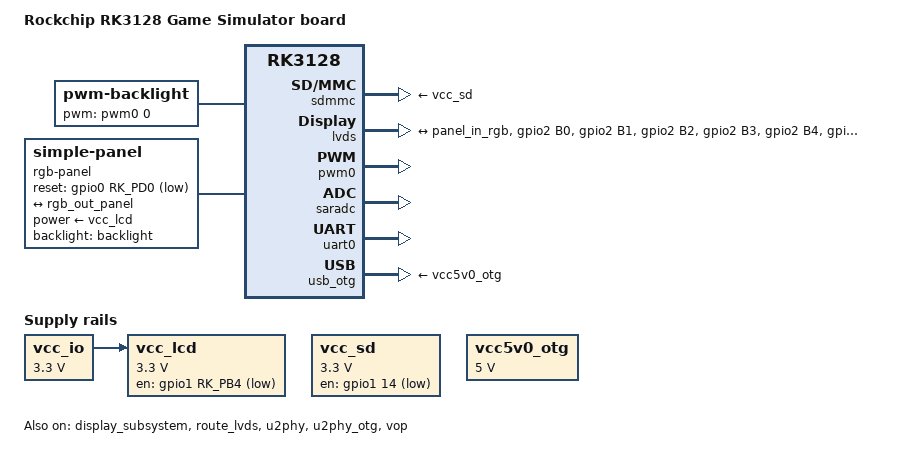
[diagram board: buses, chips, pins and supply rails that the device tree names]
/*
 * (C) Copyright 2018 Rockchip Electronics Co., Ltd
 *
 * SPDX-License-Identifier:     GPL-2.0+
 */

/dts-v1/;

#include <dt-bindings/input/input.h>
#include <linux/media-bus-format.h>
#include "rk3128.dtsi"
#include "rk3128-u-boot.dtsi"

/ {
	model = "Rockchip RK3128 Game Simulator board";
	compatible = "rockchip,rk3128-gamesim", "rockchip,rk3128";

	backlight: backlight {
		compatible = "pwm-backlight";

		brightness-levels = <0 1 2 3 4 5 6 7 8 9 10 11 12 13 14 15 16
		17 18 19 20 21 22 23 24 25 26 27 28 29 30 31 32 33 34 35 36 37
		38 39 40 41 42 43 44 45 46 47 48 49 50 51 52 53 54 55 56 57 58
		59 60 61 62 63 64 65 66 67 68 69 70 71 72 73 74 75 76 77 78 79
		80 81 82 83 84 85 86 87 88 89 90 91 92 93 94 95 96 97 98 99 100
		101 102 103 104 105 106 107 108 109 110 111 112 113 114 115 116
		117 118 119 120 121 122 123 124 125 126 127 128 129 130 131 132
		133 134 135 136 137 138 139 140 141 142 143 144 145 146 147 148
		149 150 151 152 153 154 155 156 157 158 159 160 161 162 163 164
		165 166 167 168 169 170 171 172 173 174 175 176 177 178 179 180
		181 182 183 184 185 186 187 188 189 190 191 192 193 194 195 196
		197 198 199 200 201 202 203 204 205 206 207 208 209 210 211 212
		213 214 215 216 217 218 219 220 221 222 223 224 225 226 227 228
		229 230 231 232 233 234 235 236 237 238 239 240 241 242 243 244
		245 246 247 248 249 250 251 252 253 254 255>;

		default-brightness-level = <128>;
		pwms = <&pwm0 0 25000 0>;

		status = "okay";
	};

	chosen {
		stdout-path = &uart0;
	};

	rgb-panel {
		compatible = "simple-panel";
		power-supply = <&vcc_lcd>;
		backlight = <&backlight>;
		pinctrl-names = "default";
		pinctrl-0 = <&lcd_reset>;

		bus-format = <MEDIA_BUS_FMT_RBG888_1X24>;
		width-mm = <105>;
		height-mm = <67>;

		reset-gpios = <&gpio0 RK_PD0 GPIO_ACTIVE_LOW>;
		/* todo is necessary */
		reset-delay-ms = <60>;
		enable-delay-ms = <100>;
		prepare-delay-ms = <100>;

		rockchip,data-width = <24>;
		rockchip,output = "rgb";

		display-timings {
			native-mode = <&timing0>;
			timing0: timing0 {
				clock-frequency = <9300000>;
				hactive = <480>;
				hback-porch = <43>;
				hfront-porch = <8>;
				hsync-len = <1>;
				vactive = <272>;
				vback-porch = <12>;
				vfront-porch = <8>;
				vsync-len = <1>;
				hsync-active = <0>;
				vsync-active = <0>;
				de-active = <0>;
				pixelclk-active = <0>;
			};
		};

		port {
			panel_in_rgb: endpoint {
				remote-endpoint = <&rgb_out_panel>;
			};
		};
	};

	vcc_io: vcc-io {
		compatible = "regulator-fixed";
		regulator-name = "vcc_io";
		regulator-min-microvolt = <3300000>;
		regulator-max-microvolt = <3300000>;
		regulator-always-on;
		regulator-boot-on;
	};

	vcc_lcd: vcc-lcd {
		compatible = "regulator-fixed";
		gpio = <&gpio1 RK_PB4 GPIO_ACTIVE_LOW>;
		regulator-name = "vcc_lcd";
		regulator-min-microvolt = <3300000>;
		regulator-max-microvolt = <3300000>;
		vin-supply = <&vcc_io>;
	};

	vcc_sd: vcc-sd {
		compatible = "regulator-fixed";
		regulator-name = "vcc_sd";
		gpio = <&gpio1 14 GPIO_ACTIVE_LOW>;
		pinctrl-names = "default";
		pinctrl-0 = <&sdmmc_pwr>;
		regulator-min-microvolt = <3300000>;
		regulator-max-microvolt = <3300000>;
		regulator-always-on;
		regulator-boot-on;
	};

	vcc5v0_otg: vcc5v0-otg-drv {
		compatible = "regulator-fixed";
		regulator-min-microvolt = <5000000>;
		regulator-max-microvolt = <5000000>;
	};

};

&display_subsystem {
	status = "okay";
};

&emmc {
	status = "disabled";
};

&sdmmc {
	u-boot,dm-pre-reloc;
	cap-mmc-highspeed;
	cap-sd-highspeed;
	card-detect-delay = <200>;
	disable-wp;
	num-slots = <1>;
	pinctrl-names = "default";
	pinctrl-0 = <&sdmmc_clk>, <&sdmmc_cmd>, <&sdmmc_cd>, <&sdmmc_bus4>;
	vmmc-supply = <&vcc_sd>;
	status = "okay";
};

&lvds {
	status = "okay";
	pinctrl-names = "default";
	pinctrl-0 = <&lcdc_lcdc>;

	ports {
		port@1 {
			reg = <1>;

			rgb_out_panel: endpoint {
				remote-endpoint = <&panel_in_rgb>;
			};
		};
	};
};

&nandc {
	status = "disabled";
};

&pwm0 {
	status = "okay";
};

&route_lvds {
	status = "okay";
};

&route_dsi {
	status = "disabled";
};

&saradc {
	status = "okay";
};

&u2phy {
	status = "okay";
};

&u2phy_otg {
	status = "okay";
};

&uart0 {
	clock-frequency = <24000000>;
	u-boot,dm-pre-reloc;
	status = "okay";
};

&usb_otg {
	vbus-supply = <&vcc5v0_otg>;
	status = "okay";
};

&vop {
	status = "okay";
};

&pinctrl {
	lcdc {
		lcd_reset: lcd-reset {
			rockchip,pins = <0 RK_PD0 RK_FUNC_GPIO &pcfg_pull_none>;
		};

		lcdc_lcdc: lcdc-lcdc {
			rockchip,pins =
				<2 RK_PB0 RK_FUNC_1 &pcfg_pull_none>, /* DCLK */
				<2 RK_PB1 RK_FUNC_1 &pcfg_pull_none>, /* HSYNC */
				<2 RK_PB2 RK_FUNC_1 &pcfg_pull_none>, /* VSYNC */
				<2 RK_PB3 RK_FUNC_1 &pcfg_pull_none>, /* DEN */
				<2 RK_PB4 RK_FUNC_1 &pcfg_pull_none>, /* DATA10 */
				<2 RK_PB5 RK_FUNC_1 &pcfg_pull_none>, /* DATA11 */
				<2 RK_PB6 RK_FUNC_1 &pcfg_pull_none>, /* DATA12 */
				<2 RK_PB7 RK_FUNC_1 &pcfg_pull_none>, /* DATA13 */
				<2 RK_PC0 RK_FUNC_1 &pcfg_pull_none>, /* DATA14 */
				<2 RK_PC1 RK_FUNC_1 &pcfg_pull_none>, /* DATA15 */
				<2 RK_PC2 RK_FUNC_1 &pcfg_pull_none>, /* DATA16 */
				<2 RK_PC3 RK_FUNC_1 &pcfg_pull_none>, /* DATA17 */
				<2 RK_PC4 RK_FUNC_1 &pcfg_pull_none>, /* DATA18 */
				<2 RK_PC5 RK_FUNC_1 &pcfg_pull_none>, /* DATA19 */
				<2 RK_PC6 RK_FUNC_1 &pcfg_pull_none>, /* DATA20 */
				<2 RK_PC7 RK_FUNC_1 &pcfg_pull_none>, /* DATA21 */
				<2 RK_PD0 RK_FUNC_1 &pcfg_pull_none>, /* DATA22 */
				<2 RK_PD1 RK_FUNC_1 &pcfg_pull_none>; /* DATA23 */
		};
	};

	usb_otg {
		otg_drv: otg-drv {
			rockchip,pins = <2 12 RK_FUNC_GPIO &pcfg_pull_none>;
		};
	};

	sdmmc_pwr {
		sdmmc_pwr: sdmmc-pwr {
			rockchip,pins = <1 14 RK_FUNC_GPIO &pcfg_pull_none>;
		};
	};
};
